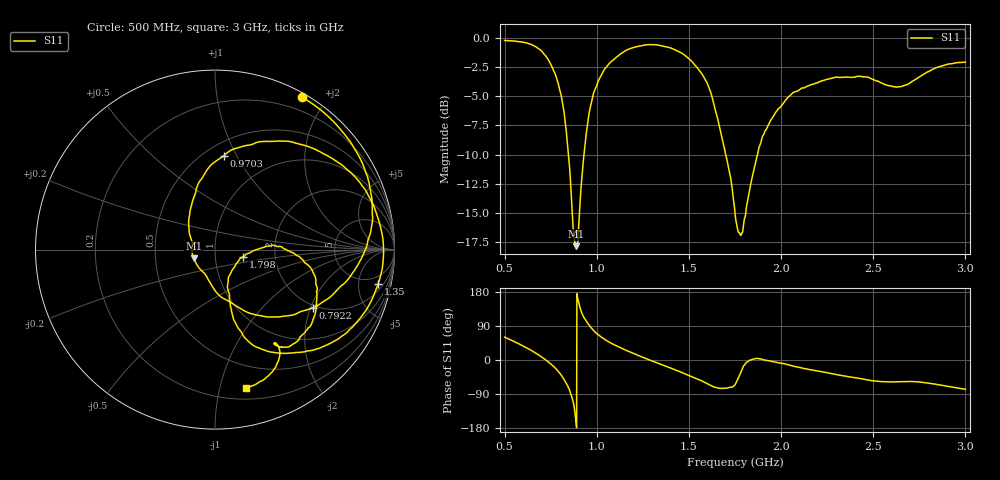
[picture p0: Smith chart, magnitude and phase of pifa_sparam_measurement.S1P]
!Agilent Technologies,E5071C,MY46105125,A.11.34
!Date: Wed Dec 13 12:10:30 2023
!Data & Calibration Information:
!Freq	S11:SOLT1(ON)
!PortZ  Port1:50+j0
!Above PortZ is port z conversion or system Z0 setting when saving the data.
!When reading, reference impedance value at option line is always used.
# Hz S dB R 50
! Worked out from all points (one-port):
!   1601 points, 500 MHz to 3 GHz, reference 50 ohm
!   lowest |S11| = -17.9 dB at 885.9 MHz (marker M1), VSWR 1.29, Z = 39.3 - j3.83 ohm
!   |S11| at or under -10 dB: 846.1 MHz to 930.7 MHz (84.65 MHz wide, 9.53 % of centre); 1.699 GHz to 1.872 GHz (172.7 MHz wide, 9.67 % of centre)
!   S11 on the Smith chart (normalised r, x): 500 MHz: 0.04, +1.72; 792.2 MHz: 1.91, -2.07; 970.3 MHz: 0.61, +0.89; 1.35 GHz: 3.04, -8.49; 1.798 GHz: 1.37, -0.11; 3 GHz: 0.30, -1.21
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5e8  -0.19 60.2
5.921875e8  -0.32 39.0
6.8125e8  -0.87 14.4
7.40625e8  -1.95 -6.4
7.921875e8  -3.97 -30.9
8.125e8  -5.40 -43.6
8.4375e8  -9.59 -69.9
8.859375e8  -17.88 -157.9
9.265625e8  -10.65 115.5
9.703125e8  -5.58 84.6
1.034375e9  -2.88 57.4
1.125e9  -1.39 33.2
1.2375e9  -0.66 9.6
1.35e9  -0.64 -11.9
1.4375e9  -1.07 -28.2
1.517188e9  -2.02 -44.3
1.595312e9  -3.74 -61.4
1.6625e9  -7.38 -74.3
1.75e9  -15.03 -65.4
1.775e9  -16.78 -40.0
1.798438e9  -15.80 -14.5
1.903125e9  -8.33 0.7
2.0625e9  -4.71 -15.6
2.375e9  -3.36 -44.8
2.560938e9  -3.95 -57.3
2.6875e9  -3.96 -56.7
2.820312e9  -2.68 -62.4
3e9  -2.06 -77.4
